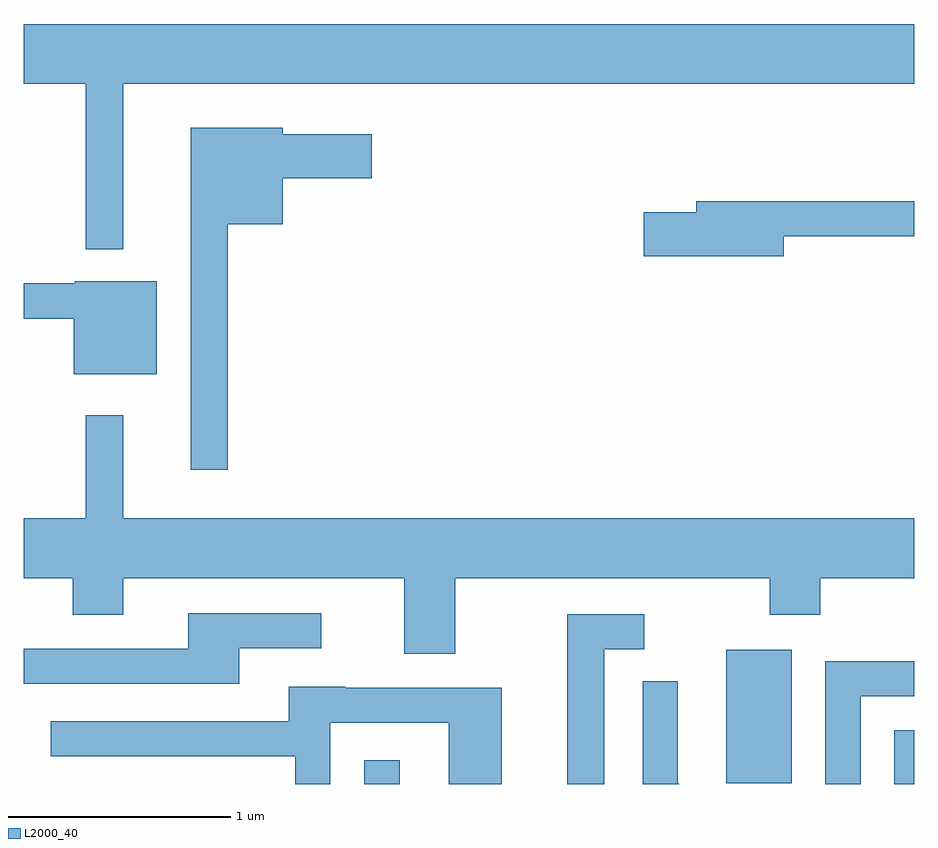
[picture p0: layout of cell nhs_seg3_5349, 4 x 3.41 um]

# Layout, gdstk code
import gdstk
lib = gdstk.Library(unit=1e-6, precision=1e-09)
def R(c, l, rs):  # rectangles x0, y0, x1, y1
    for r in rs: c.add(gdstk.rectangle(r[:2], r[2:], *l))
def P(c, l, *ps):  # polygons
    for p in ps: c.add(gdstk.Polygon(p, *l))
L2000_40 = (2000, 40)

nhs_seg3_5349 = lib.new_cell('nhs_seg3_5349')
R(nhs_seg3_5349, L2000_40, [(343.141,1213.892,343.299,1213.998), (345.521,1213.892,345.611,1214.134), (344.766,1213.896,345.059,1214.494)])
P(nhs_seg3_5349, L2000_40, [(342.059,1217.036),(345.611,1217.036),(345.611,1217.304),(341.611,1217.304),(341.611,1217.036),(341.891,1217.036),(341.891,1216.293),(342.059,1216.293)],
  [(342.529,1216.406),(342.774,1216.406),(342.774,1216.611),(343.174,1216.611),(343.174,1216.809),(342.774,1216.809),(342.774,1216.839),(342.361,1216.839),(342.361,1215.303),(342.529,1215.303)],
  [(345.024,1216.351),(345.611,1216.351),(345.611,1216.509),(344.631,1216.509),(344.631,1216.459),(344.396,1216.459),(344.396,1216.261),(345.024,1216.261)],
  [(342.209,1216.149),(341.84,1216.149),(341.84,1216.139),(341.611,1216.139),(341.611,1215.981),(341.836,1215.981),(341.836,1215.731),(342.209,1215.731)],
  [(343.549,1214.816),(344.961,1214.816),(344.961,1214.651),(345.189,1214.651),(345.189,1214.816),(345.611,1214.816),(345.611,1215.084),(342.059,1215.084),(342.059,1215.548),(341.891,1215.548),(341.891,1215.084),(341.611,1215.084),(341.611,1214.816),(341.831,1214.816),(341.831,1214.651),(342.059,1214.651),(342.059,1214.816),(343.321,1214.816),(343.321,1214.476),(343.549,1214.476)],
  [(342.579,1214.501),(342.948,1214.501),(342.948,1214.659),(342.351,1214.659),(342.351,1214.499),(341.611,1214.499),(341.611,1214.341),(342.579,1214.341)],
  [(344.219,1214.496),(344.398,1214.496),(344.398,1214.654),(344.051,1214.654),(344.051,1213.892),(344.219,1213.892)],
  [(345.369,1214.286),(345.611,1214.286),(345.611,1214.444),(345.211,1214.444),(345.211,1213.892),(345.369,1213.892)],
  [(344.549,1213.897),(344.549,1214.353),(344.391,1214.353),(344.391,1213.892),(344.554,1213.892)],
  [(342.989,1214.166),(343.521,1214.166),(343.521,1213.892),(343.759,1213.892),(343.759,1214.324),(343.055,1214.324),(343.055,1214.329),(342.801,1214.329),(342.801,1214.174),(341.733,1214.174),(341.733,1214.016),(342.831,1214.016),(342.831,1213.892),(342.989,1213.892)])

lib.write_gds('nhs_seg3_5349.gds')
